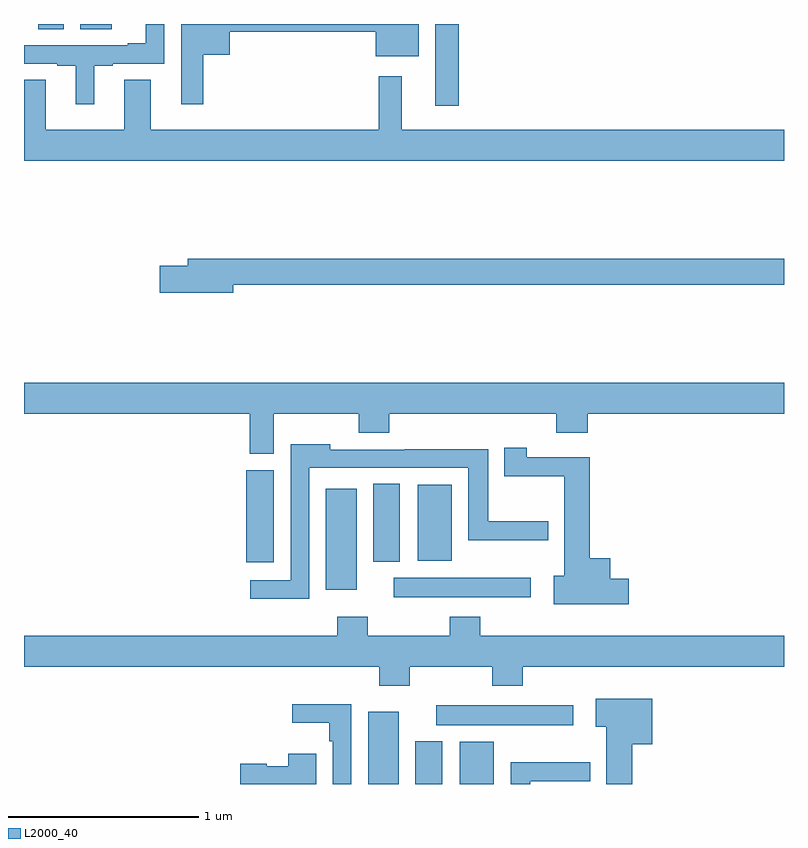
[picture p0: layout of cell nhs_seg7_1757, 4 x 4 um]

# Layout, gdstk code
import gdstk
lib = gdstk.Library(unit=1e-6, precision=1e-09)
def R(c, l, rs):  # rectangles x0, y0, x1, y1
    for r in rs: c.add(gdstk.rectangle(r[:2], r[2:], *l))
def P(c, l, *ps):  # polygons
    for p in ps: c.add(gdstk.Polygon(p, *l))
L2000_40 = (2000, 40)

nhs_seg7_1757 = lib.new_cell('nhs_seg7_1757')
R(nhs_seg7_1757, L2000_40, [(232.811,1000,232.972,1000.381), (233.06,1000,233.2,1000.225), (233.294,1000,233.473,1000.222), (233.169,1000.31,233.89,1000.414), (232.947,1000.982,233.668,1001.086), (232.589,1001.022,232.75,1001.554), (232.169,1001.166,232.315,1001.652), (232.838,1001.171,232.978,1001.579), (233.072,1001.174,233.251,1001.575), (233.165,1003.569,233.287,1004), (231.074,1003.972,231.208,1004), (231.296,1003.972,231.463,1004)])
P(nhs_seg7_1757, L2000_40, [(231.944,1003.838),(232.084,1003.838),(232.084,1003.96),(232.85,1003.96),(232.85,1003.829),(233.077,1003.829),(233.077,1004),(231.828,1004),(231.828,1003.578),(231.944,1003.578)],
  [(231.37,1003.779),(231.466,1003.779),(231.466,1003.791),(231.738,1003.791),(231.738,1004),(231.641,1004),(231.641,1003.9),(231.545,1003.9),(231.545,1003.887),(231,1003.887),(231,1003.791),(231.176,1003.791),(231.176,1003.779),(231.272,1003.779),(231.272,1003.578),(231.37,1003.578)],
  [(235,1003.444),(232.987,1003.444),(232.987,1003.726),(232.866,1003.726),(232.866,1003.444),(231.667,1003.444),(231.667,1003.706),(231.527,1003.706),(231.527,1003.444),(231.115,1003.444),(231.115,1003.706),(231,1003.706),(231,1003.28),(235,1003.28)],
  [(232.102,1002.628),(235,1002.628),(235,1002.764),(231.863,1002.764),(231.863,1002.728),(231.714,1002.728),(231.714,1002.586),(232.102,1002.586)],
  [(232.315,1001.948),(232.762,1001.948),(232.762,1001.849),(232.922,1001.849),(232.922,1001.948),(233.801,1001.948),(233.801,1001.849),(233.966,1001.849),(233.966,1001.948),(235,1001.948),(235,1002.112),(231,1002.112),(231,1001.948),(232.187,1001.948),(232.187,1001.737),(232.315,1001.737)],
  [(232.5,1001.664),(233.339,1001.664),(233.339,1001.282),(233.758,1001.282),(233.758,1001.382),(233.443,1001.382),(233.443,1001.762),(233.005,1001.762),(233.005,1001.76),(232.611,1001.76),(232.611,1001.788),(232.404,1001.788),(232.404,1001.073),(232.191,1001.073),(232.191,1000.976),(232.5,1000.976)],
  [(234.184,1001.081),(234.085,1001.081),(234.085,1001.188),(233.978,1001.188),(233.978,1001.719),(233.646,1001.719),(233.646,1001.77),(233.528,1001.77),(233.528,1001.62),(233.843,1001.62),(233.843,1001.096),(233.787,1001.096),(233.787,1000.946),(234.184,1000.946)],
  [(233.242,1000.879),(233.242,1000.78),(232.809,1000.78),(232.809,1000.879),(232.649,1000.879),(232.649,1000.78),(231,1000.78),(231,1000.616),(232.871,1000.616),(232.871,1000.517),(233.031,1000.517),(233.031,1000.616),(233.464,1000.616),(233.464,1000.517),(233.624,1000.517),(233.624,1000.616),(235,1000.616),(235,1000.78),(233.402,1000.78),(233.402,1000.879)],
  [(234.2,1000.208),(234.307,1000.208),(234.307,1000.45),(234.009,1000.45),(234.009,1000.301),(234.065,1000.301),(234.065,1000),(234.2,1000)],
  [(232.722,1000.421),(232.413,1000.421),(232.413,1000.322),(232.606,1000.322),(232.606,1000.226),(232.626,1000.226),(232.626,1000),(232.722,1000)],
  [(232.537,1000.159),(232.391,1000.159),(232.391,1000.093),(232.278,1000.093),(232.278,1000.106),(232.137,1000.106),(232.137,1000),(232.537,1000)],
  [(233.665,1000.015),(233.98,1000.015),(233.98,1000.115),(233.561,1000.115),(233.561,1000),(233.665,1000)])

lib.write_gds('nhs_seg7_1757.gds')
